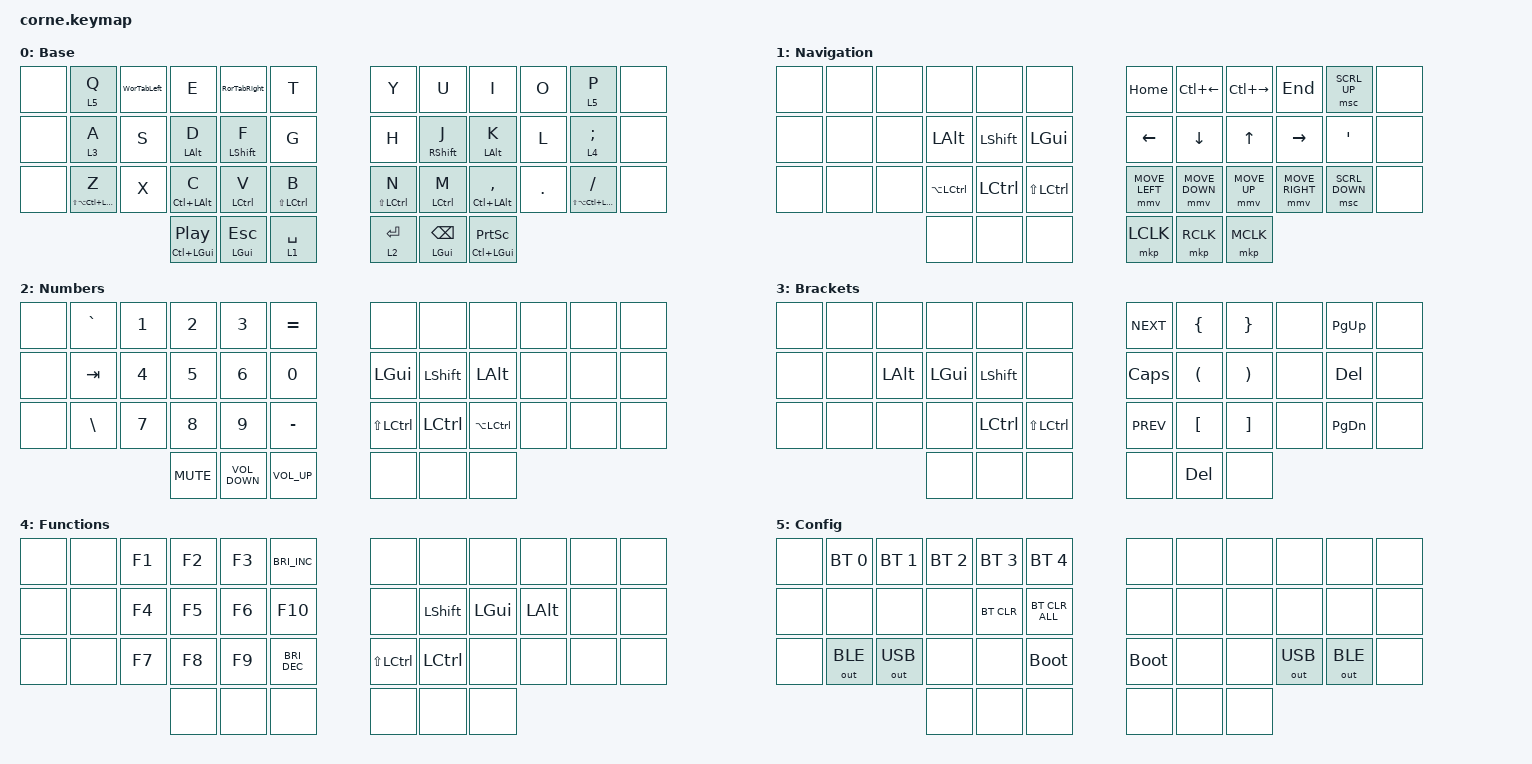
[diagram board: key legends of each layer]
/*
 * Copyright (c) 2020 The ZMK Contributors
 *
 * SPDX-License-Identifier: MIT
 */

#include <behaviors.dtsi>
#include <dt-bindings/zmk/bt.h>
#include <dt-bindings/zmk/keys.h>
#include <dt-bindings/zmk/outputs.h>
#include <dt-bindings/zmk/pointing.h>

#define COMBO_PRIOR_IDLE 100

/ {
    behaviors {
        lt: layer_tap {
            compatible = "zmk,behavior-hold-tap";
            #binding-cells = <2>;
            flavor = "balanced";
            tapping-term-ms = <220>;
            bindings = <&mo>, <&kp>;

            require-prior-idle-ms = <125>;
            quick-tap-ms = <175>;
        };

        hml: home_row_mod_left {
            compatible = "zmk,behavior-hold-tap";
            #binding-cells = <2>;
            flavor = "tap-preferred";
            tapping-term-ms = <180>;
            bindings = <&kp>, <&kp>;

            require-prior-idle-ms = <125>;
            quick-tap-ms = <170>;
        };

        hmr: home_row_mod_right {
            compatible = "zmk,behavior-hold-tap";
            #binding-cells = <2>;
            flavor = "tap-preferred";
            tapping-term-ms = <180>;
            bindings = <&kp>, <&kp>;

            require-prior-idle-ms = <125>;
            quick-tap-ms = <170>;
        };

        WorTabLeft: WorTabLeft {
            compatible = "zmk,behavior-mod-morph";
            label = "WORTABLEFT";
            bindings = <&kp W>, <&kp LC(PAGE_UP)>;

            #binding-cells = <0>;
            mods = <(MOD_LGUI)>;
        };

        RorTabRight: RorTabRight {
            compatible = "zmk,behavior-mod-morph";
            label = "RORTABRIGHT";
            bindings = <&kp R>, <&kp LC(PAGE_DOWN)>;

            #binding-cells = <0>;
            mods = <(MOD_LGUI)>;
        };
    };

    combos {
        compatible = "zmk,combos";

        Warpd {
            bindings = <&kp LG(LC(LS(Z)))>;
            key-positions = <38 39>;
        };
    };

    keymap {
        compatible = "zmk,keymap";

        Base {
            label = "Base";
            bindings = <
&none  &lt 5 Q                      &WorTabLeft  &kp E                           &RorTabRight          &kp T               &kp Y             &kp U                    &kp I                          &kp O    &lt 5 P                          &none
&none  &lt 3 A                      &kp S        &hml LEFT_ALT D                 &hml LEFT_SHIFT F     &kp G               &kp H             &hmr RIGHT_SHIFT J       &hmr LEFT_ALT K                &kp L    &lt 4 SEMI                       &none
&none  &hml LS(LA(LC(LEFT_GUI))) Z  &kp X        &hml LC(LEFT_ALT) C             &hml LCTRL V          &hml LS(LCTRL) B    &hmr LS(LCTRL) N  &hmr LCTRL M             &hmr LC(LEFT_ALT) COMMA        &kp DOT  &hmr LS(LA(LC(LEFT_GUI))) SLASH  &none
                                                 &hml LC(LEFT_GUI) C_PLAY_PAUSE  &hml LEFT_GUI ESCAPE  &lt 1 SPACE         &lt 2 ENTER       &hmr LEFT_GUI BACKSPACE  &hmr LC(LEFT_GUI) PRINTSCREEN
            >;
        };

        Navigation {
            bindings = <
&none  &none  &none  &none          &none           &none            &kp HOME        &kp LC(LEFT)    &kp LC(RIGHT)  &kp END          &msc SCRL_UP    &none
&none  &none  &none  &kp LEFT_ALT   &kp LEFT_SHIFT  &kp LGUI         &kp LEFT        &kp DOWN        &kp UP         &kp RIGHT        &kp SQT         &none
&none  &none  &none  &kp LA(LCTRL)  &kp LCTRL       &kp LS(LCTRL)    &mmv MOVE_LEFT  &mmv MOVE_DOWN  &mmv MOVE_UP   &mmv MOVE_RIGHT  &msc SCRL_DOWN  &none
                     &none          &none           &none            &mkp LCLK       &mkp RCLK       &mkp MCLK
            >;
        };

        Numbers {
            bindings = <
&none  &kp GRAVE      &kp NUMBER_1  &kp NUMBER_2  &kp NUMBER_3       &kp EQUAL          &none          &none           &none          &none  &none  &none
&none  &kp TAB        &kp NUMBER_4  &kp N5        &kp NUMBER_6       &kp N0             &kp LEFT_GUI   &kp LEFT_SHIFT  &kp LEFT_ALT   &none  &none  &none
&none  &kp BACKSLASH  &kp N7        &kp N8        &kp N9             &kp MINUS          &kp LS(LCTRL)  &kp LCTRL       &kp LA(LCTRL)  &none  &none  &none
                                    &kp C_MUTE    &kp C_VOLUME_DOWN  &kp C_VOLUME_UP    &none          &none           &none
            >;
        };

        Brackets {
            bindings = <
&none  &none  &none         &none         &none           &none            &kp C_NEXT  &kp LEFT_BRACE        &kp RIGHT_BRACE        &none  &kp PAGE_UP    &none
&none  &none  &kp LEFT_ALT  &kp LEFT_GUI  &kp LEFT_SHIFT  &none            &kp CAPS    &kp LEFT_PARENTHESIS  &kp RIGHT_PARENTHESIS  &none  &kp DELETE     &none
&none  &none  &none         &none         &kp LCTRL       &kp LS(LCTRL)    &kp C_PREV  &kp LEFT_BRACKET      &kp RIGHT_BRACKET      &none  &kp PAGE_DOWN  &none
                            &none         &none           &none            &none       &kp DELETE            &none
            >;
        };

        Functions {
            bindings = <
&none  &none  &kp F1  &kp F2  &kp F3  &kp C_BRIGHTNESS_INC    &none          &none           &none         &none         &none  &none
&none  &none  &kp F4  &kp F5  &kp F6  &kp F10                 &none          &kp LEFT_SHIFT  &kp LEFT_GUI  &kp LEFT_ALT  &none  &none
&none  &none  &kp F7  &kp F8  &kp F9  &kp C_BRIGHTNESS_DEC    &kp LS(LCTRL)  &kp LCTRL       &none         &none         &none  &none
                      &none   &none   &none                   &none          &none           &none
            >;
        };

        Config {
            bindings = <
&none  &bt BT_SEL 0  &bt BT_SEL 1  &bt BT_SEL 2  &bt BT_SEL 3  &bt BT_SEL 4      &none        &none  &none  &none         &none         &none
&none  &none         &none         &none         &bt BT_CLR    &bt BT_CLR_ALL    &none        &none  &none  &none         &none         &none
&none  &out OUT_BLE  &out OUT_USB  &none         &none         &bootloader       &bootloader  &none  &none  &out OUT_USB  &out OUT_BLE  &none
                                   &none         &none         &none             &none        &none  &none
            >;
        };
    };
};
